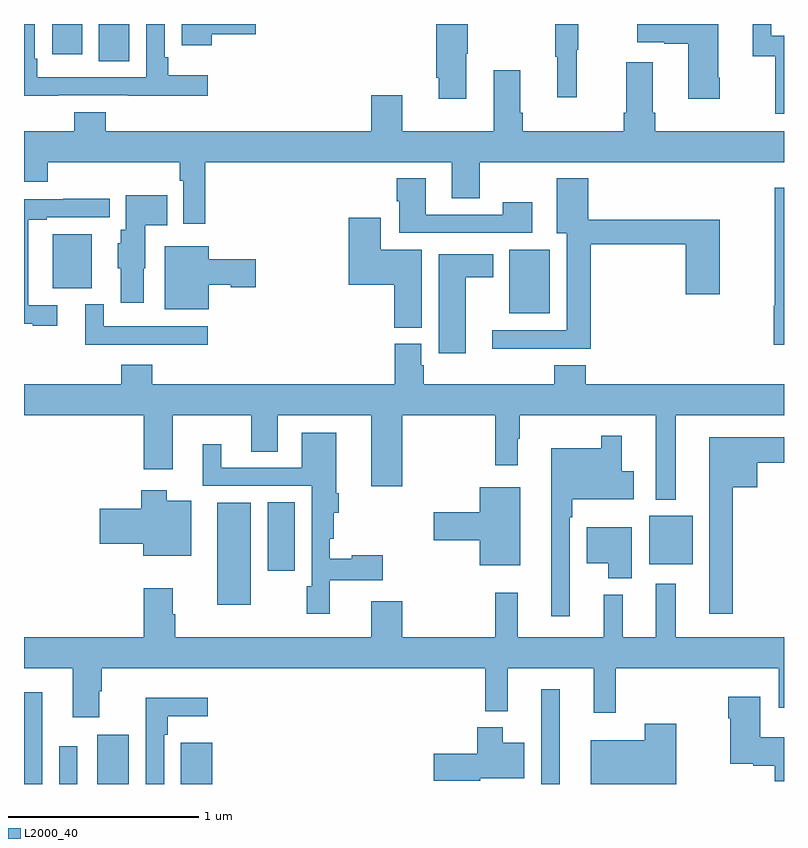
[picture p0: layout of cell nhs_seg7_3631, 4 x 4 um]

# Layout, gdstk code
import gdstk
lib = gdstk.Library(unit=1e-6, precision=1e-09)
def R(c, l, rs):  # rectangles x0, y0, x1, y1
    for r in rs: c.add(gdstk.rectangle(r[:2], r[2:], *l))
def P(c, l, *ps):  # polygons
    for p in ps: c.add(gdstk.Polygon(p, *l))
L2000_40 = (2000, 40)

nhs_seg7_3631 = lib.new_cell('nhs_seg7_3631')
R(nhs_seg7_3631, L2000_40, [(343,1008,343.096,1008.484), (343.185,1008,343.281,1008.199), (343.385,1008,343.552,1008.259), (343.826,1008,343.99,1008.217), (345.723,1008,345.82,1008.499), (344.018,1008.944,344.194,1009.48), (344.282,1009.122,344.425,1009.484), (346.292,1009.157,346.519,1009.411), (345.554,1010.477,345.766,1010.812), (343.151,1010.609,343.357,1010.893), (343.394,1011.805,343.555,1012), (343.148,1011.84,343.306,1012)])
P(nhs_seg7_3631, L2000_40, [(345.328,1011.844),(345.336,1011.844),(345.336,1012),(345.17,1012),(345.17,1011.718),(345.182,1011.718),(345.182,1011.606),(345.328,1011.606)],
  [(343.988,1011.947),(344.221,1011.947),(344.221,1012),(343.829,1012),(343.829,1011.888),(343.988,1011.888)],
  [(345.908,1011.864),(345.916,1011.864),(345.916,1012),(345.795,1012),(345.795,1011.827),(345.806,1011.827),(345.806,1011.615),(345.908,1011.615)],
  [(346.662,1011.718),(346.654,1011.718),(346.654,1012),(346.227,1012),(346.227,1011.905),(346.37,1011.905),(346.37,1011.895),(346.496,1011.895),(346.496,1011.606),(346.662,1011.606)],
  [(343.181,1011.624),(343.547,1011.624),(343.547,1011.623),(343.966,1011.623),(343.966,1011.73),(343.76,1011.73),(343.76,1011.826),(343.74,1011.826),(343.74,1012),(343.644,1012),(343.644,1011.72),(343.069,1011.72),(343.069,1011.817),(343.056,1011.817),(343.056,1012),(343,1012),(343,1011.623),(343.181,1011.623)],
  [(347,1011.939),(346.932,1011.939),(346.932,1012),(346.835,1012),(346.835,1011.831),(346.953,1011.831),(346.953,1011.528),(347,1011.528)],
  [(343.955,1011.272),(345.251,1011.272),(345.251,1011.082),(345.399,1011.082),(345.399,1011.272),(347,1011.272),(347,1011.436),(346.322,1011.436),(346.322,1011.532),(346.309,1011.532),(346.309,1011.799),(346.169,1011.799),(346.169,1011.532),(346.157,1011.532),(346.157,1011.436),(345.626,1011.436),(345.626,1011.532),(345.613,1011.532),(345.613,1011.757),(345.473,1011.757),(345.473,1011.436),(344.992,1011.436),(344.992,1011.625),(344.828,1011.625),(344.828,1011.436),(343.43,1011.436),(343.43,1011.535),(343.265,1011.535),(343.265,1011.436),(343,1011.436),(343,1011.17),(343.124,1011.17),(343.124,1011.272),(343.819,1011.272),(343.819,1011.176),(343.839,1011.176),(343.839,1010.949),(343.955,1010.949)],
  [(345.676,1011.061),(345.52,1011.061),(345.52,1010.997),(345.115,1010.997),(345.115,1011.187),(344.963,1011.187),(344.963,1011.067),(344.975,1011.067),(344.975,1010.901),(345.676,1010.901)],
  [(345.983,1010.842),(346.484,1010.842),(346.484,1010.577),(346.662,1010.577),(346.662,1010.971),(345.97,1010.971),(345.97,1011.187),(345.803,1011.187),(345.803,1010.9),(345.857,1010.9),(345.857,1010.388),(345.465,1010.388),(345.465,1010.291),(345.983,1010.291)],
  [(347,1011.139),(346.951,1011.139),(346.951,1010.516),(346.946,1010.516),(346.946,1010.312),(347,1010.312)],
  [(343.63,1010.715),(343.639,1010.715),(343.639,1010.942),(343.754,1010.942),(343.754,1011.1),(343.535,1011.1),(343.535,1010.916),(343.508,1010.916),(343.508,1010.847),(343.493,1010.847),(343.493,1010.715),(343.508,1010.715),(343.508,1010.532),(343.63,1010.532)],
  [(343.174,1010.52),(343.023,1010.52),(343.023,1010.97),(343.12,1010.97),(343.12,1010.982),(343.45,1010.982),(343.45,1011.08),(343.207,1011.08),(343.207,1011.078),(343,1011.078),(343,1010.423),(343.046,1010.423),(343.046,1010.412),(343.174,1010.412)],
  [(345.094,1010.812),(344.878,1010.812),(344.878,1010.98),(344.708,1010.98),(344.708,1010.627),(344.948,1010.627),(344.948,1010.401),(345.094,1010.401)],
  [(343.972,1010.627),(344.088,1010.627),(344.088,1010.615),(344.221,1010.615),(344.221,1010.762),(343.972,1010.762),(343.972,1010.83),(343.742,1010.83),(343.742,1010.498),(343.972,1010.498)],
  [(345.325,1010.666),(345.469,1010.666),(345.469,1010.788),(345.182,1010.788),(345.182,1010.268),(345.325,1010.268)],
  [(343.966,1010.409),(343.419,1010.409),(343.419,1010.524),(343.322,1010.524),(343.322,1010.313),(343.966,1010.313)],
  [(346.429,1009.94),(347,1009.94),(347,1010.104),(345.956,1010.104),(345.956,1010.203),(345.791,1010.203),(345.791,1010.104),(345.104,1010.104),(345.104,1010.205),(345.091,1010.205),(345.091,1010.316),(344.951,1010.316),(344.951,1010.104),(343.676,1010.104),(343.676,1010.206),(343.511,1010.206),(343.511,1010.104),(343,1010.104),(343,1009.94),(343.631,1009.94),(343.631,1009.656),(343.783,1009.656),(343.783,1009.94),(344.195,1009.94),(344.195,1009.75),(344.335,1009.75),(344.335,1009.94),(344.828,1009.94),(344.828,1009.566),(344.992,1009.566),(344.992,1009.94),(345.481,1009.94),(345.481,1009.677),(345.598,1009.677),(345.598,1009.817),(345.61,1009.817),(345.61,1009.94),(346.325,1009.94),(346.325,1009.496),(346.429,1009.496)],
  [(344.61,1009.073),(344.887,1009.073),(344.887,1009.203),(344.724,1009.203),(344.724,1009.185),(344.61,1009.185),(344.61,1009.291),(344.63,1009.291),(344.63,1009.427),(344.657,1009.427),(344.657,1009.531),(344.644,1009.531),(344.644,1009.849),(344.462,1009.849),(344.462,1009.665),(344.038,1009.665),(344.038,1009.789),(343.94,1009.789),(343.94,1009.569),(344.514,1009.569),(344.514,1009.041),(344.488,1009.041),(344.488,1008.897),(344.61,1008.897)],
  [(345.873,1009.403),(345.886,1009.403),(345.886,1009.499),(346.21,1009.499),(346.21,1009.647),(346.147,1009.647),(346.147,1009.834),(346.038,1009.834),(346.038,1009.768),(345.776,1009.768),(345.776,1008.882),(345.873,1008.882)],
  [(346.729,1009.562),(346.858,1009.562),(346.858,1009.691),(347,1009.691),(347,1009.825),(346.607,1009.825),(346.607,1008.897),(346.729,1008.897)],
  [(345.613,1009.561),(345.398,1009.561),(345.398,1009.43),(345.156,1009.43),(345.156,1009.283),(345.398,1009.283),(345.398,1009.151),(345.613,1009.151)],
  [(343.879,1009.492),(343.75,1009.492),(343.75,1009.546),(343.616,1009.546),(343.616,1009.448),(343.398,1009.448),(343.398,1009.265),(343.628,1009.265),(343.628,1009.202),(343.879,1009.202)],
  [(346.198,1009.351),(345.962,1009.351),(345.962,1009.163),(346.076,1009.163),(346.076,1009.082),(346.198,1009.082)],
  [(345.599,1009.006),(345.481,1009.006),(345.481,1008.772),(344.992,1008.772),(344.992,1008.961),(344.828,1008.961),(344.828,1008.772),(343.796,1008.772),(343.796,1008.893),(343.783,1008.893),(343.783,1009.03),(343.631,1009.03),(343.631,1008.772),(343,1008.772),(343,1008.608),(343.256,1008.608),(343.256,1008.351),(343.396,1008.351),(343.396,1008.488),(343.409,1008.488),(343.409,1008.608),(345.427,1008.608),(345.427,1008.383),(345.545,1008.383),(345.545,1008.608),(345.998,1008.608),(345.998,1008.375),(346.115,1008.375),(346.115,1008.608),(346.973,1008.608),(346.973,1008.402),(347,1008.402),(347,1008.772),(346.429,1008.772),(346.429,1009.054),(346.325,1009.054),(346.325,1008.772),(346.15,1008.772),(346.15,1008.997),(346.052,1008.997),(346.052,1008.772),(345.599,1008.772)],
  [(347,1008.247),(346.876,1008.247),(346.876,1008.46),(346.706,1008.46),(346.706,1008.347),(346.718,1008.347),(346.718,1008.107),(346.839,1008.107),(346.839,1008.095),(346.952,1008.095),(346.952,1008.014),(347,1008.014)],
  [(343.737,1008.26),(343.757,1008.26),(343.757,1008.356),(343.966,1008.356),(343.966,1008.454),(343.641,1008.454),(343.641,1008),(343.737,1008)],
  [(346.432,1008.316),(346.267,1008.316),(346.267,1008.229),(345.983,1008.229),(345.983,1008),(346.432,1008)],
  [(345.402,1008.029),(345.634,1008.029),(345.634,1008.217),(345.52,1008.217),(345.52,1008.298),(345.386,1008.298),(345.386,1008.159),(345.156,1008.159),(345.156,1008.017),(345.402,1008.017)])

lib.write_gds('nhs_seg7_3631.gds')
